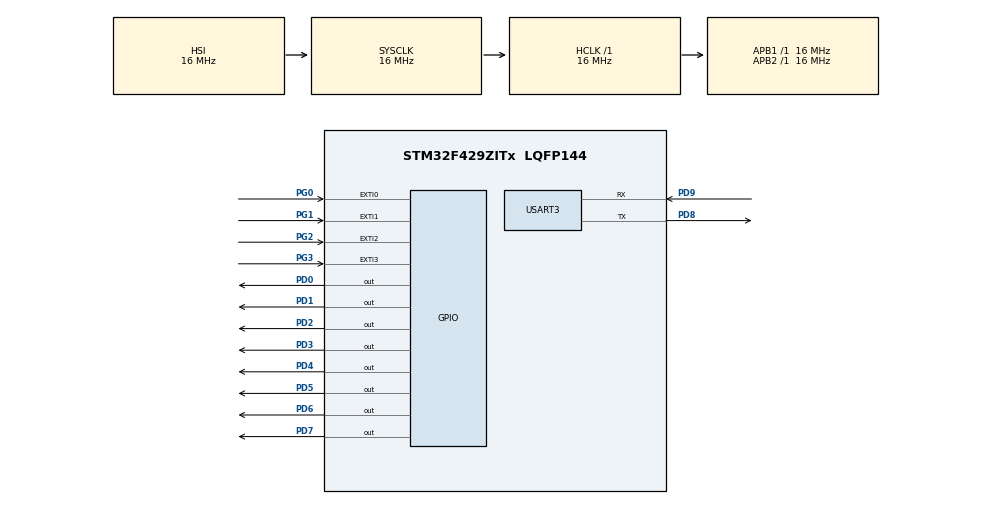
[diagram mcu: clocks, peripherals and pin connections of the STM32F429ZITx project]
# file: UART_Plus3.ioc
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Mcu.Family=STM32F4
Mcu.Name=STM32F429ZITx
Mcu.Package=LQFP144
NVIC.EXTI0_IRQn=true\:0\:0\:false\:false\:true\:true\:true\:true
NVIC.EXTI1_IRQn=true\:0\:0\:false\:false\:true\:true\:true\:true
NVIC.EXTI2_IRQn=true\:0\:0\:false\:false\:true\:true\:true\:true
NVIC.EXTI3_IRQn=true\:0\:0\:false\:false\:true\:true\:true\:true
NVIC.PriorityGroup=NVIC_PRIORITYGROUP_4
NVIC.USART3_IRQn=true\:0\:0\:false\:false\:true\:true\:true\:true
PD0.GPIO_ModeDefaultOutputPP=GPIO_MODE_OUTPUT_PP
PD0.GPIO_PuPd=GPIO_PULLUP
PD0.GPIO_Speed=GPIO_SPEED_FREQ_HIGH
PD0.PinState=GPIO_PIN_RESET
PD0.Signal=GPIO_Output
PD1.GPIO_ModeDefaultOutputPP=GPIO_MODE_OUTPUT_PP
PD1.GPIO_PuPd=GPIO_PULLUP
PD1.GPIO_Speed=GPIO_SPEED_FREQ_HIGH
PD1.PinState=GPIO_PIN_RESET
PD1.Signal=GPIO_Output
PD2.GPIO_ModeDefaultOutputPP=GPIO_MODE_OUTPUT_PP
PD2.GPIO_PuPd=GPIO_PULLUP
PD2.GPIO_Speed=GPIO_SPEED_FREQ_HIGH
PD2.PinState=GPIO_PIN_RESET
PD2.Signal=GPIO_Output
PD3.GPIO_ModeDefaultOutputPP=GPIO_MODE_OUTPUT_PP
PD3.GPIO_PuPd=GPIO_PULLUP
PD3.GPIO_Speed=GPIO_SPEED_FREQ_HIGH
PD3.PinState=GPIO_PIN_RESET
PD3.Signal=GPIO_Output
PD4.GPIO_ModeDefaultOutputPP=GPIO_MODE_OUTPUT_PP
PD4.GPIO_PuPd=GPIO_PULLUP
PD4.GPIO_Speed=GPIO_SPEED_FREQ_HIGH
PD4.PinState=GPIO_PIN_RESET
PD4.Signal=GPIO_Output
PD5.GPIO_ModeDefaultOutputPP=GPIO_MODE_OUTPUT_PP
PD5.GPIO_PuPd=GPIO_PULLUP
PD5.GPIO_Speed=GPIO_SPEED_FREQ_HIGH
PD5.PinState=GPIO_PIN_RESET
PD5.Signal=GPIO_Output
PD6.GPIO_ModeDefaultOutputPP=GPIO_MODE_OUTPUT_PP
PD6.GPIO_PuPd=GPIO_PULLUP
PD6.GPIO_Speed=GPIO_SPEED_FREQ_HIGH
PD6.PinState=GPIO_PIN_RESET
PD6.Signal=GPIO_Output
PD7.GPIO_ModeDefaultOutputPP=GPIO_MODE_OUTPUT_PP
PD7.GPIO_PuPd=GPIO_PULLUP
PD7.GPIO_Speed=GPIO_SPEED_FREQ_HIGH
PD7.PinState=GPIO_PIN_RESET
PD7.Signal=GPIO_Output
PD8.Mode=Asynchronous
PD8.Signal=USART3_TX
PD9.Mode=Asynchronous
PD9.Signal=USART3_RX
PG0.GPIO_ModeDefaultEXTI=GPIO_MODE_IT_FALLING
PG0.GPIO_PuPd=GPIO_NOPULL
PG0.Signal=GPXTI0
PG1.GPIO_ModeDefaultEXTI=GPIO_MODE_IT_FALLING
PG1.GPIO_PuPd=GPIO_NOPULL
PG1.Signal=GPXTI1
PG2.GPIO_ModeDefaultEXTI=GPIO_MODE_IT_FALLING
PG2.GPIO_PuPd=GPIO_NOPULL
PG2.Signal=GPXTI2
PG3.GPIO_ModeDefaultEXTI=GPIO_MODE_IT_FALLING
PG3.GPIO_PuPd=GPIO_NOPULL
PG3.Signal=GPXTI3
ProjectManager.HeapSize=0x200
ProjectManager.StackSize=0x400
ProjectManager.TargetToolchain=STM32CubeIDE
RCC.AHBFreq_Value=16000000
RCC.APB1Freq_Value=16000000
RCC.APB2Freq_Value=16000000
RCC.CortexFreq_Value=16000000
RCC.HSE_VALUE=25000000
RCC.HSI_VALUE=16000000
RCC.LSE_VALUE=32768
RCC.SYSCLKFreq_VALUE=16000000
RCC.VCOOutputFreq_Value=192000000
USART3.VirtualMode=VM_ASYNC
board=custom

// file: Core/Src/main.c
/* USER CODE BEGIN Header */
/**
  ******************************************************************************
  * @file           : main.c
  * @brief          : Main program body
  ******************************************************************************
  * @attention
  *
  * Copyright (c) 2022 STMicroelectronics.
  * All rights reserved.
  *
  * This software is licensed under terms that can be found in the LICENSE file
  * in the root directory of this software component.
  * If no LICENSE file comes with this software, it is provided AS-IS.
  *
  ******************************************************************************
  */
/* USER CODE END Header */
#include "main.h"

/* USER CODE BEGIN PD */
#define TxBufferSize   (countof(TxBuffer)-1)
#define TxBufferSize_2   (countof(TxBuffer_2)-1)
#define TxBufferSize_3   (countof(TxBuffer_3)-1)
#define TxBufferSize_4   (countof(TxBuffer_4)-1)
#define TxBufferSize_5   (countof(TxBuffer_5)-1)
#define RxBufferSize   0XFF
#define countof(a)      (sizeof(a) / sizeof(*(a)))
/* USER CODE END PD */

UART_HandleTypeDef huart3;

/* USER CODE BEGIN PV */
uint8_t TxBuffer[] = "\n\rUART Plus Example 2.2 (Transmission Success !!)\n\r\n\r";
uint8_t TxBuffer_2[] = "\n\r LED 1 is ON ! \n\r";
uint8_t TxBuffer_3[] = "\n\r LED 1 is OFF ! \n\r";
uint8_t RxBuffer[RxBufferSize];
/* USER CODE END PV */

void SystemClock_Config(void);
static void MX_GPIO_Init(void);
static void MX_USART3_UART_Init(void);
/* USER CODE BEGIN PFP */
void LED_OnOff(int, int);
/* USER CODE END PFP */

int main(void)
{
   uint16_t data;

  /* MCU Configuration--------------------------------------------------------*/

  /* Reset of all peripherals, Initializes the Flash interface and the Systick. */
  HAL_Init();

  /* Configure the system clock */
  SystemClock_Config();

  /* Initialize all configured peripherals */
  MX_GPIO_Init();
  MX_USART3_UART_Init();
  /* USER CODE BEGIN 2 */
  LED_OnOff(LED_ALL, 500);
  HAL_UART_Transmit(&huart3, (uint8_t*)TxBuffer, TxBufferSize, 0xFFFF);
  /* USER CODE END 2 */

  /* Infinite loop */
  /* USER CODE BEGIN WHILE */
  while (1)
  {
     if(HAL_UART_Receive(&huart3, &data, sizeof(data), 5000)== HAL_OK)
     {
        if(data == '11'){
           HAL_UART_Transmit(&huart3,(uint8_t*)TxBuffer_2 , TxBufferSize_2, 0xFFFF);
           LED_On(0x01);
        }
        if(data == '01'){
           HAL_UART_Transmit(&huart3,(uint8_t*)TxBuffer_3 , TxBufferSize_3, 0xFFFF);
           LED_Off(0x01);
        }
     }
    /* USER CODE END WHILE */

  }
}

void SystemClock_Config(void)
{
  RCC_OscInitTypeDef RCC_OscInitStruct = {0};
  RCC_ClkInitTypeDef RCC_ClkInitStruct = {0};

  /** Configure the main internal regulator output voltage
  */
  __HAL_RCC_PWR_CLK_ENABLE();
  __HAL_PWR_VOLTAGESCALING_CONFIG(PWR_REGULATOR_VOLTAGE_SCALE3);

  /** Initializes the RCC Oscillators according to the specified parameters
  * in the RCC_OscInitTypeDef structure.
  */
  RCC_OscInitStruct.OscillatorType = RCC_OSCILLATORTYPE_HSI;
  RCC_OscInitStruct.HSIState = RCC_HSI_ON;
  RCC_OscInitStruct.HSICalibrationValue = RCC_HSICALIBRATION_DEFAULT;
  RCC_OscInitStruct.PLL.PLLState = RCC_PLL_NONE;
  if (HAL_RCC_OscConfig(&RCC_OscInitStruct) != HAL_OK)
  {
    Error_Handler();
  }

  /** Initializes the CPU, AHB and APB buses clocks
  */
  RCC_ClkInitStruct.ClockType = RCC_CLOCKTYPE_HCLK|RCC_CLOCKTYPE_SYSCLK
                              |RCC_CLOCKTYPE_PCLK1|RCC_CLOCKTYPE_PCLK2;
  RCC_ClkInitStruct.SYSCLKSource = RCC_SYSCLKSOURCE_HSI;
  RCC_ClkInitStruct.AHBCLKDivider = RCC_SYSCLK_DIV1;
  RCC_ClkInitStruct.APB1CLKDivider = RCC_HCLK_DIV1;
  RCC_ClkInitStruct.APB2CLKDivider = RCC_HCLK_DIV1;

  if (HAL_RCC_ClockConfig(&RCC_ClkInitStruct, FLASH_LATENCY_0) != HAL_OK)
  {
    Error_Handler();
  }
}

static void MX_USART3_UART_Init(void)
{

  huart3.Instance = USART3;
  huart3.Init.BaudRate = 115200;
  huart3.Init.WordLength = UART_WORDLENGTH_8B;
  huart3.Init.StopBits = UART_STOPBITS_1;
  huart3.Init.Parity = UART_PARITY_NONE;
  huart3.Init.Mode = UART_MODE_TX_RX;
  huart3.Init.HwFlowCtl = UART_HWCONTROL_NONE;
  huart3.Init.OverSampling = UART_OVERSAMPLING_16;
  if (HAL_UART_Init(&huart3) != HAL_OK)
  {
    Error_Handler();
  }

}

static void MX_GPIO_Init(void)
{
  GPIO_InitTypeDef GPIO_InitStruct = {0};

  /* GPIO Ports Clock Enable */
  __HAL_RCC_GPIOG_CLK_ENABLE();
  __HAL_RCC_GPIOD_CLK_ENABLE();

  /*Configure GPIO pin Output Level */
  HAL_GPIO_WritePin(GPIOD, GPIO_PIN_0|GPIO_PIN_1|GPIO_PIN_2|GPIO_PIN_3
                          |GPIO_PIN_4|GPIO_PIN_5|GPIO_PIN_6|GPIO_PIN_7, GPIO_PIN_RESET);

  /*Configure GPIO pins : PG0 PG1 PG2 PG3 */
  GPIO_InitStruct.Pin = GPIO_PIN_0|GPIO_PIN_1|GPIO_PIN_2|GPIO_PIN_3;
  GPIO_InitStruct.Mode = GPIO_MODE_IT_FALLING;
  GPIO_InitStruct.Pull = GPIO_NOPULL;
  HAL_GPIO_Init(GPIOG, &GPIO_InitStruct);

  /*Configure GPIO pins : PD0 PD1 PD2 PD3
                           PD4 PD5 PD6 PD7 */
  GPIO_InitStruct.Pin = GPIO_PIN_0|GPIO_PIN_1|GPIO_PIN_2|GPIO_PIN_3
                          |GPIO_PIN_4|GPIO_PIN_5|GPIO_PIN_6|GPIO_PIN_7;
  GPIO_InitStruct.Mode = GPIO_MODE_OUTPUT_PP;
  GPIO_InitStruct.Pull = GPIO_PULLUP;
  GPIO_InitStruct.Speed = GPIO_SPEED_FREQ_HIGH;
  HAL_GPIO_Init(GPIOD, &GPIO_InitStruct);

  /* EXTI interrupt init*/
  HAL_NVIC_SetPriority(EXTI0_IRQn, 0, 0);
  HAL_NVIC_EnableIRQ(EXTI0_IRQn);

  HAL_NVIC_SetPriority(EXTI1_IRQn, 0, 0);
  HAL_NVIC_EnableIRQ(EXTI1_IRQn);

  HAL_NVIC_SetPriority(EXTI2_IRQn, 0, 0);
  HAL_NVIC_EnableIRQ(EXTI2_IRQn);

  HAL_NVIC_SetPriority(EXTI3_IRQn, 0, 0);
  HAL_NVIC_EnableIRQ(EXTI3_IRQn);

}

/* USER CODE BEGIN 4 */
void LED_OnOff(int led, int interval)
{
   HAL_GPIO_WritePin(GPIO_LED, led, GPIO_PIN_SET);
   HAL_GPIO_WritePin(GPIO_LED_Nucleo, led, GPIO_PIN_SET);
   HAL_Delay(interval);
   HAL_GPIO_WritePin(GPIO_LED, led, GPIO_PIN_RESET);
   HAL_GPIO_WritePin(GPIO_LED_Nucleo, led, GPIO_PIN_RESET);
}
void LED_On(int led)
{
	   HAL_GPIO_WritePin(GPIO_LED, led, GPIO_PIN_SET);
	   HAL_GPIO_WritePin(GPIO_LED_Nucleo, led, GPIO_PIN_SET);
}
void LED_Off(int led)
{
	HAL_GPIO_WritePin(GPIO_LED, led, GPIO_PIN_RESET);
	HAL_GPIO_WritePin(GPIO_LED_Nucleo, led, GPIO_PIN_RESET);
}
/* USER CODE END 4 */
void Error_Handler(void)
{
  __disable_irq();
  while (1)
  {
  }
}
